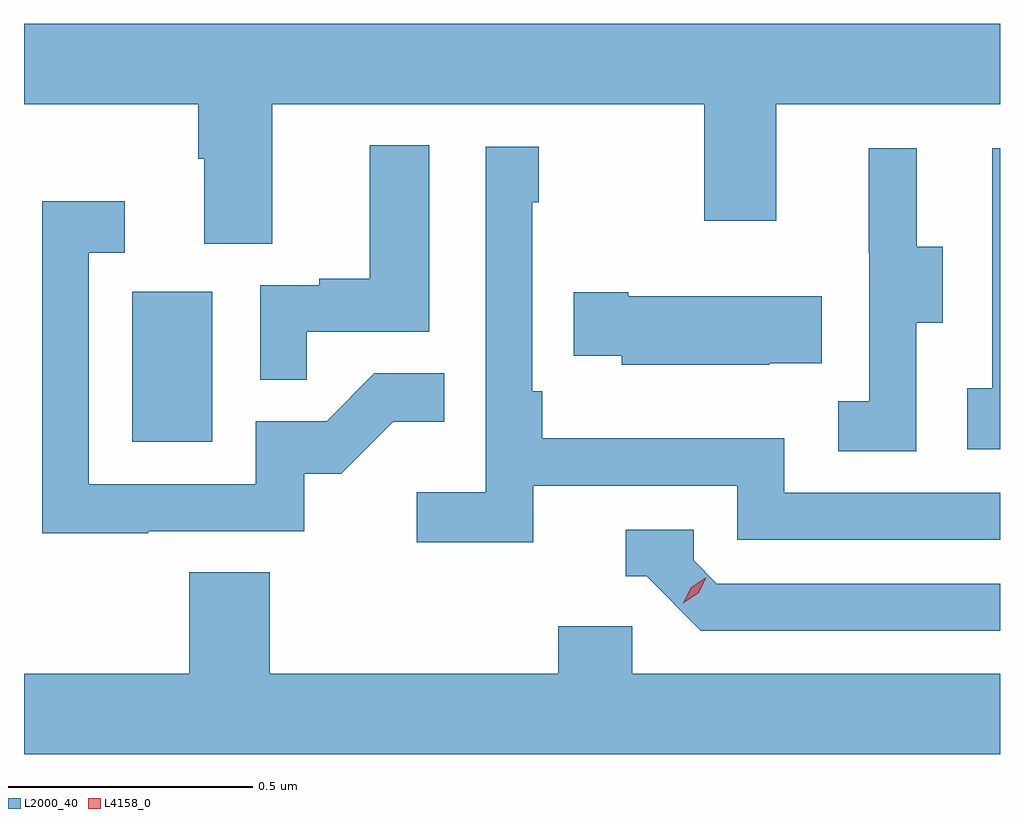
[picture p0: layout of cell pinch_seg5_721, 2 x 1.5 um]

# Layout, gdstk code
import gdstk
lib = gdstk.Library(unit=1e-6, precision=1e-09)
def R(c, l, rs):  # rectangles x0, y0, x1, y1
    for r in rs: c.add(gdstk.rectangle(r[:2], r[2:], *l))
def P(c, l, *ps):  # polygons
    for p in ps: c.add(gdstk.Polygon(p, *l))
L2000_40 = (2000, 40)
L4158_0 = (4158, 0)

pinch_seg5_721 = lib.new_cell('pinch_seg5_721')
R(pinch_seg5_721, L2000_40, [(1083.734,840.084,1083.898,840.391)])
P(pinch_seg5_721, L2000_40, [(1084.021,840.776),(1084.906,840.776),(1084.906,840.537),(1085.053,840.537),(1085.053,840.776),(1085.512,840.776),(1085.512,840.94),(1083.512,840.94),(1083.512,840.776),(1083.869,840.776),(1083.869,840.664),(1083.881,840.664),(1083.881,840.49),(1084.021,840.49)],
  [(1084.091,840.309),(1084.342,840.309),(1084.342,840.691),(1084.22,840.691),(1084.22,840.418),(1084.117,840.418),(1084.117,840.405),(1083.996,840.405),(1083.996,840.211),(1084.091,840.211)],
  [(1084.556,839.994),(1084.974,839.994),(1084.974,839.883),(1085.512,839.883),(1085.512,839.979),(1085.07,839.979),(1085.07,840.091),(1084.574,840.091),(1084.574,840.187),(1084.554,840.187),(1084.554,840.575),(1084.567,840.575),(1084.567,840.688),(1084.458,840.688),(1084.458,839.98),(1084.317,839.98),(1084.317,839.878),(1084.556,839.878)],
  [(1085.512,840.685),(1085.496,840.685),(1085.496,840.194),(1085.445,840.194),(1085.445,840.069),(1085.512,840.069)],
  [(1085.34,840.328),(1085.395,840.328),(1085.395,840.483),(1085.341,840.483),(1085.341,840.685),(1085.243,840.685),(1085.243,840.471),(1085.244,840.471),(1085.244,840.167),(1085.181,840.167),(1085.181,840.064),(1085.34,840.064)],
  [(1083.767,839.901),(1084.086,839.901),(1084.086,840.018),(1084.162,840.018),(1084.269,840.125),(1084.373,840.125),(1084.373,840.224),(1084.23,840.224),(1084.132,840.126),(1083.987,840.126),(1083.987,839.997),(1083.645,839.997),(1083.645,840.471),(1083.718,840.471),(1083.718,840.577),(1083.549,840.577),(1083.549,839.896),(1083.767,839.896)],
  [(1085.039,840.245),(1085.147,840.245),(1085.147,840.382),(1084.75,840.382),(1084.75,840.39),(1084.639,840.39),(1084.639,840.26),(1084.737,840.26),(1084.737,840.242),(1085.039,840.242)],
  [(1085.512,839.793),(1084.932,839.793),(1084.884,839.841),(1084.884,839.904),(1084.745,839.904),(1084.745,839.808),(1084.788,839.808),(1084.899,839.697),(1085.512,839.697)],
  [(1085.512,839.608),(1084.758,839.608),(1084.758,839.706),(1084.607,839.706),(1084.607,839.608),(1084.016,839.608),(1084.016,839.816),(1083.851,839.816),(1083.851,839.608),(1083.512,839.608),(1083.512,839.444),(1085.512,839.444)])
P(pinch_seg5_721, L4158_0, [(1084.863,839.753),(1084.863,839.754),(1084.879,839.786),(1084.909,839.805),(1084.91,839.805),(1084.91,839.805),(1084.894,839.773),(1084.863,839.753)])

lib.write_gds('pinch_seg5_721.gds')
